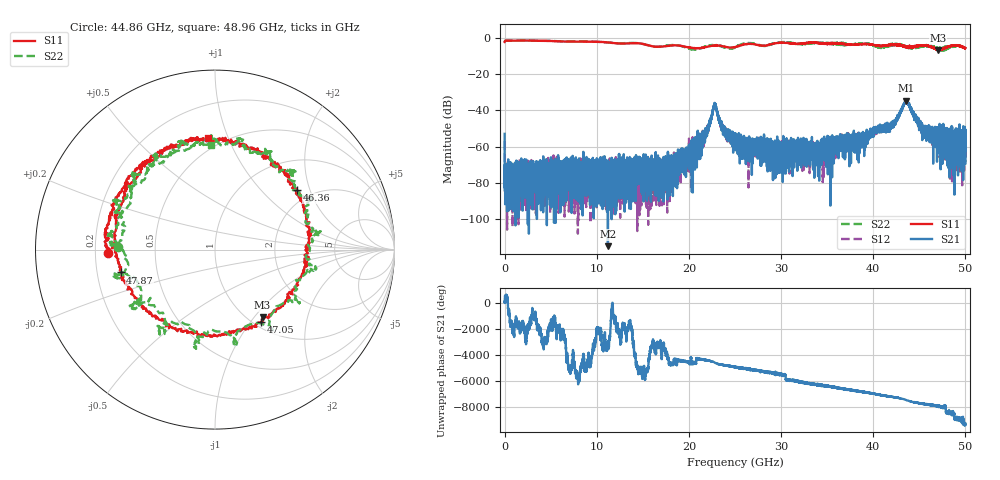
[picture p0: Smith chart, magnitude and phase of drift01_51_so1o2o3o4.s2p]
!Created with skrf (http://scikit-rf.org).
# Hz S RI R 50.0
!freq ReS11 ImS11 ReS21 ImS21 ReS12 ImS12 ReS22 ImS22
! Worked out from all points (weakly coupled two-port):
!   10001 points, 300 kHz to 50 GHz, reference 50 ohm
!   highest |S21| = -34.59 dB at 43.59 GHz (marker M1); lowest = -114.9 dB at 11.21 GHz (marker M2)
!   lowest |S11| = -6.7 dB at 47.04 GHz (marker M3), VSWR 2.71, Z = 57.8 - j55.3 ohm
!   |S11| at or under -10 dB: nowhere
!   |S22| runs from -7.1 to -1.4 dB; largest |S21 - S12| = 0.0037
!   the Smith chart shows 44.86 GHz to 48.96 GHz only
!   S11 on the Smith chart (normalised r, x): 44.86 GHz: 0.25, -0.02; 46.36 GHz: 1.68, +1.64; 47.05 GHz: 1.07, -1.13; 47.87 GHz: 0.30, -0.11; 48.96 GHz: 0.42, +0.85
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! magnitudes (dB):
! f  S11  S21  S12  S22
! 300 kHz  -2.1  -52.9  -56.8  -2.1
! 325.3 MHz  -1.4  -74.2  -77.3  -1.4
! 8.335 GHz  -1.9  -77.4  -74.1  -1.8
! 11.21 GHz  -2.4  -114.9  -69.4  -2.5
! 16.67 GHz  -4.9  -77.0  -69.5  -4.8
! 21 GHz  -5.7  -60.8  -62.9  -6.1
! 21.93 GHz  -4.9  -50.5  -51.3  -4.5
! 22.79 GHz  -4.3  -35.8  -36.2  -4.0
! 23.77 GHz  -4.7  -50.7  -49.3  -4.9
! 25 GHz  -5.0  -56.3  -61.6  -5.1
! 29.86 GHz  -2.7  -61.0  -60.6  -2.4
! 33.34 GHz  -2.6  -64.6  -56.9  -2.7
! 38.24 GHz  -3.5  -55.7  -57.0  -3.2
! 41.67 GHz  -3.9  -50.0  -49.6  -4.5
! 43.59 GHz  -4.9  -34.6  -34.8  -4.8
! 44.86 GHz  -4.5  -45.6  -45.4  -5.3
! 46.36 GHz  -4.9  -52.5  -56.9  -4.8
! 47.04 GHz  -6.7  -53.6  -54.8  -5.8
! 47.05 GHz  -6.4  -53.5  -53.1  -5.5
! 47.87 GHz  -5.3  -54.5  -52.9  -5.4
! 48.96 GHz  -4.1  -60.5  -57.2  -4.7
! 50 GHz  -5.6  -60.0  -53.9  -5.4
